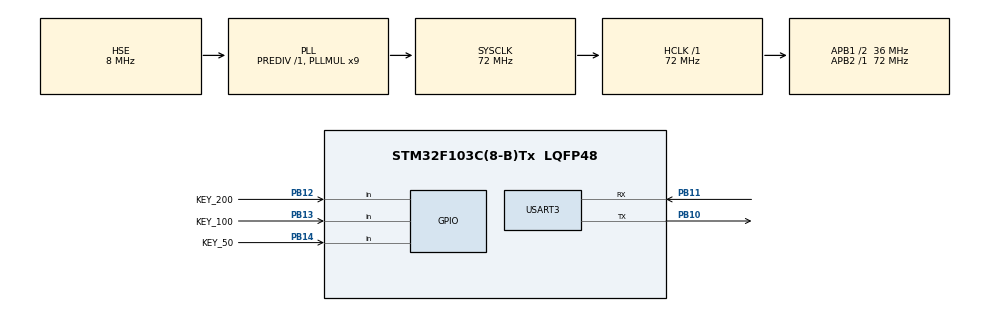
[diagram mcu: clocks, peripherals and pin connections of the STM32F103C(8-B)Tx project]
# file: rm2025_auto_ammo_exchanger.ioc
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Mcu.Family=STM32F1
Mcu.Name=STM32F103C(8-B)Tx
Mcu.Package=LQFP48
NVIC.PriorityGroup=NVIC_PRIORITYGROUP_4
NVIC.USART3_IRQn=true\:0\:0\:false\:false\:true\:true\:true\:true
PA0-WKUP.Mode=SYS_WakeUp0
PA0-WKUP.Signal=SYS_WKUP
PA13.Mode=Serial_Wire
PA13.Signal=SYS_JTMS-SWDIO
PA14.Mode=Serial_Wire
PA14.Signal=SYS_JTCK-SWCLK
PB10.Mode=Asynchronous
PB10.Signal=USART3_TX
PB11.Mode=Asynchronous
PB11.Signal=USART3_RX
PB12.GPIO_Label=KEY_200
PB12.Signal=GPIO_Input
PB13.GPIO_Label=KEY_100
PB13.Signal=GPIO_Input
PB14.GPIO_Label=KEY_50
PB14.Signal=GPIO_Input
PD0-OSC_IN.Mode=HSE-External-Oscillator
PD0-OSC_IN.Signal=RCC_OSC_IN
PD1-OSC_OUT.Mode=HSE-External-Oscillator
PD1-OSC_OUT.Signal=RCC_OSC_OUT
ProjectManager.HeapSize=0x1000
ProjectManager.StackSize=0x1000
ProjectManager.TargetToolchain=MDK-ARM V5
RCC.AHBFreq_Value=72000000
RCC.APB1CLKDivider=RCC_HCLK_DIV2
RCC.APB1Freq_Value=36000000
RCC.APB1TimFreq_Value=72000000
RCC.APB2Freq_Value=72000000
RCC.APB2TimFreq_Value=72000000
RCC.HCLKFreq_Value=72000000
RCC.PLLMUL=RCC_PLL_MUL9
RCC.PLLSourceVirtual=RCC_PLLSOURCE_HSE
RCC.SYSCLKFreq_VALUE=72000000
RCC.SYSCLKSource=RCC_SYSCLKSOURCE_PLLCLK
RCC.USBFreq_Value=48000000
RCC.USBPrescaler=RCC_USBCLKSOURCE_PLL_DIV1_5
USART3.VirtualMode=VM_ASYNC
board=custom

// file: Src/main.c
/* USER CODE BEGIN Header */
/**
 ******************************************************************************
 * @file           : main.c
 * @brief          : Main program body
 ******************************************************************************
 * @attention
 *
 * Copyright (c) 2024 STMicroelectronics.
 * All rights reserved.
 *
 * This software is licensed under terms that can be found in the LICENSE file
 * in the root directory of this software component.
 * If no LICENSE file comes with this software, it is provided AS-IS.
 *
 ******************************************************************************
 */
/* USER CODE END Header */

#include "main.h"
#include "usart.h"
#include "gpio.h"

#include "referee_protocol.h"
#include "referee_frame_process.h"

/* USER CODE BEGIN Includes */
#include "stdbool.h"
#include "stdint.h"
/* USER CODE END Includes */

/* USER CODE BEGIN PD */
#define NUM_KEYS 3
#define DELAY_MS 25
/* USER CODE END PD */

/* USER CODE BEGIN PV */
bool key_pressed[NUM_KEYS] = {false};
bool key_flag[NUM_KEYS] = {true};

custom_client_data_t custom_client_data = {0};
uint8_t client_data[8] = {0};

typedef struct {
    uint16_t x_pos;
    uint16_t y_pos;
} Position;

const Position key_positions[NUM_KEYS] = {
    {1160, 560},  //50弹
    {1210, 560},  //100弹
    {1210, 560}
};

const Position common_positions[3] = {
    {960, 670},
    {860, 560}  //确认
};
/* USER CODE END PV */

void SystemClock_Config(void);
void send_mouse_sequence(uint16_t x, uint16_t y);
void send_common_sequence(void);

int main(void)
{
    HAL_Init();
    SystemClock_Config();
    MX_GPIO_Init();
    MX_USART3_UART_Init();

    while (1)
    {
        for (int i = 0; i < NUM_KEYS; i++) {
            GPIO_PinState pin_state;

            switch (i) {
                case 0: pin_state = HAL_GPIO_ReadPin(KEY_GPIO_Port, KEY_50_Pin); break;
                case 1: pin_state = HAL_GPIO_ReadPin(KEY_GPIO_Port, KEY_100_Pin); break;
                case 2: pin_state = HAL_GPIO_ReadPin(KEY_GPIO_Port, KEY_200_Pin); break;
            }

            key_pressed[i] = (pin_state == GPIO_PIN_RESET);
            if (pin_state == GPIO_PIN_SET) {
                key_flag[i] = false;
            }

            if (key_pressed[i] && !key_flag[i]) {
				   custom_client_data = (custom_client_data_t){
					.key_value = 79,
					.x_position = 0,
					.y_position = 0,
					.mouse_left = 0,
					.mouse_right = 0
				};
				memcpy(client_data, &custom_client_data, 8);
				HAL_UART_Transmit(&huart3, referee_pack_data(0x0306, client_data, 8), getRefSentDataLen(), 30);
				HAL_Delay(DELAY_MS);

                send_mouse_sequence(key_positions[i].x_pos, key_positions[i].y_pos);
                if(i == 2)
                send_mouse_sequence(key_positions[i].x_pos, key_positions[i].y_pos);

                send_common_sequence();

				custom_client_data = (custom_client_data_t){
					.key_value = 79,
					.x_position = 0,
					.y_position = 0,
					.mouse_left = 0,
					.mouse_right = 0
				};
				memcpy(client_data, &custom_client_data, 8);
				HAL_UART_Transmit(&huart3, referee_pack_data(0x0306, client_data, 8), getRefSentDataLen(), 30);
				HAL_Delay(DELAY_MS);

                send_mouse_sequence(0, 0);

                key_flag[i] = true;
                key_pressed[i] = false;
            }
        }
			HAL_Delay(10);
    }
}

/**
 * @brief 鼠标点击操作
 * @param x X coordinate
 * @param y Y coordinate
 */
void send_mouse_sequence(uint16_t x, uint16_t y)
{
    custom_client_data = (custom_client_data_t){
        .key_value = 0,			//网上任意键值
        .x_position = x,
        .y_position = y,
        .mouse_left = 0,
        .mouse_right = 0
    };
    memcpy(client_data, &custom_client_data, 8);
    HAL_UART_Transmit(&huart3, referee_pack_data(0x0306, client_data, 8), getRefSentDataLen(), 30);
    HAL_Delay(DELAY_MS);

    custom_client_data.mouse_left = 1;
    memcpy(client_data, &custom_client_data, 8);
    HAL_UART_Transmit(&huart3, referee_pack_data(0x0306, client_data, 8), getRefSentDataLen(), 30);
    HAL_Delay(DELAY_MS);

    custom_client_data.mouse_left = 0;
    memcpy(client_data, &custom_client_data, 8);
    HAL_UART_Transmit(&huart3, referee_pack_data(0x0306, client_data, 8), getRefSentDataLen(), 30);
    HAL_Delay(DELAY_MS);
}

/**
 * @brief Sends the common mouse sequence shared by all keys
 */
void send_common_sequence(void)
{
    send_mouse_sequence(common_positions[0].x_pos, common_positions[0].y_pos);

    send_mouse_sequence(common_positions[1].x_pos, common_positions[1].y_pos);
	}
void SystemClock_Config(void)
{
  RCC_OscInitTypeDef RCC_OscInitStruct = {0};
  RCC_ClkInitTypeDef RCC_ClkInitStruct = {0};

  /** Initializes the RCC Oscillators according to the specified parameters
  * in the RCC_OscInitTypeDef structure.
  */
  RCC_OscInitStruct.OscillatorType = RCC_OSCILLATORTYPE_HSE;
  RCC_OscInitStruct.HSEState = RCC_HSE_ON;
  RCC_OscInitStruct.HSEPredivValue = RCC_HSE_PREDIV_DIV1;
  RCC_OscInitStruct.HSIState = RCC_HSI_ON;
  RCC_OscInitStruct.PLL.PLLState = RCC_PLL_ON;
  RCC_OscInitStruct.PLL.PLLSource = RCC_PLLSOURCE_HSE;
  RCC_OscInitStruct.PLL.PLLMUL = RCC_PLL_MUL9;
  if (HAL_RCC_OscConfig(&RCC_OscInitStruct) != HAL_OK)
  {
    Error_Handler();
  }

  /** Initializes the CPU, AHB and APB buses clocks
  */
  RCC_ClkInitStruct.ClockType = RCC_CLOCKTYPE_HCLK|RCC_CLOCKTYPE_SYSCLK
                              |RCC_CLOCKTYPE_PCLK1|RCC_CLOCKTYPE_PCLK2;
  RCC_ClkInitStruct.SYSCLKSource = RCC_SYSCLKSOURCE_PLLCLK;
  RCC_ClkInitStruct.AHBCLKDivider = RCC_SYSCLK_DIV1;
  RCC_ClkInitStruct.APB1CLKDivider = RCC_HCLK_DIV2;
  RCC_ClkInitStruct.APB2CLKDivider = RCC_HCLK_DIV1;

  if (HAL_RCC_ClockConfig(&RCC_ClkInitStruct, FLASH_LATENCY_2) != HAL_OK)
  {
    Error_Handler();
  }
}

void Error_Handler(void)
{
    __disable_irq();
    while (1)
    {
    }
}
